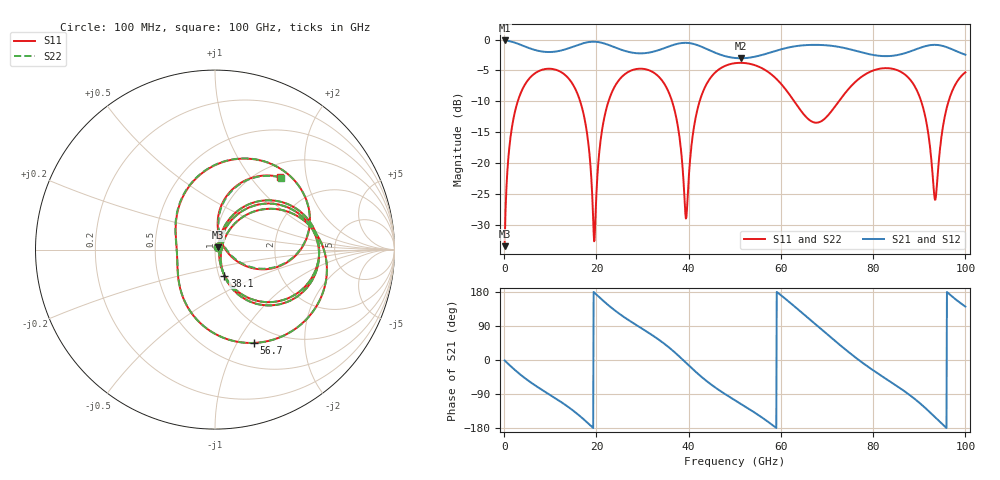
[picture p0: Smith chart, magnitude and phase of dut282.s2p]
! Touchstone file exported from HFSS 2026.1.0
!  File:  C:/ffzhzh/LocalFiles/Ansys_Project_Files/temp_train_TSV_RDL_282_1783678881_29156.aedt
!  Generated:  06:31:28 PM Jul 10, 2026
!  Design:  TSV_RDL
!  Project:  temp_train_TSV_RDL_282_1783678881_29156
! Variables:
!  h_bsmrdl = 2.33um
!  h_ox = 20um
!  h_rdl = 5um
!  h_sub = 70.32um
!  h_tmrdl = 4.81um
!  h_tsv = 70.32um
!  h_via = 3um
!  l_bsmrdl = 445.95um
!  l_sub = 3195.65um
!  l_tmrdl = 330.67um
!  m_sub = 200um
!  pitch = 54.42um
!  r_tsv = 5.91um
!  s_tmrdl = 10um
!  w_bsmrdl = 18.12um
!  w_sub = 500um
!  w_tmrdl = 26.92um
!  x_tsv_center1 = 344.13um
!  x_tsv_center2 = 808.2um
!  x_tsv_center3 = 1165.79um
!  x_tsv_center4 = 1629.86um
!  x_tsv_center5 = 1987.45um
!  x_tsv_center6 = 2451.52um
# GHz S MA R 50.000000
! Terminal data exported
! Port[1] = TM_RDL1_1_T1
! Port[2] = TM_RDL5_1_T1
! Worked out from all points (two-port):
!   1000 points, 100 MHz to 100 GHz, reference 50 ohm
!   highest |S21| = -0.15 dB at 100 MHz (marker M1); lowest = -3.0 dB at 51.3 GHz (marker M2)
!   |S21| within 3 dB of the highest: start of sweep to end of sweep
!   lowest |S11| = -33.4 dB at 100 MHz (marker M3), VSWR 1.04, Z = 51.8 + j1.28 ohm
!   |S11| at or under -10 dB: 16.49 GHz to 22.62 GHz (6.134 GHz wide, 31.4 % of centre); 36.41 GHz to 42.38 GHz (5.965 GHz wide, 15.1 % of centre); 62.9 GHz to 72.55 GHz (9.649 GHz wide, 14.2 % of centre) (the widest 3 of 5)
!   |S22| runs from -33.4 to -3.8 dB; largest |S21 - S12| = 3.9e-13
!   S11 on the Smith chart (normalised r, x): 100 MHz: 1.04, +0.03; 38.1 GHz: 1.06, -0.31; 56.7 GHz: 0.77, -1.18; 100 GHz: 1.24, +1.42
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0.1  0.02135 35.4  0.9828 -1.2  0.9828 -1.2  0.02135 35.4
! Gamma 0 0 0 0
! Port Impedance 50 0 50 0
1.6  0.1858 65.0  0.9613 -18.3  0.9613 -18.3  0.1858 65.0
4.7  0.4439 37.3  0.8725 -49.7  0.8725 -49.7  0.4439 37.3
10.5  0.5776 -7.5  0.7944 -96.4  0.7944 -96.4  0.5776 -7.5
16.8  0.2888 -59.3  0.9252 -151.8  0.9252 -151.8  0.2887 -59.2
19.6  0.02384 12.0  0.9598 177.2  0.9598 177.2  0.02452 11.7
23.5  0.3847 41.9  0.8794 135.6  0.8794 135.6  0.3848 41.7
33.4  0.5057 -34.2  0.8186 54.7  0.8186 54.7  0.5057 -34.4
38.1  0.1536 -70.2  0.9321 8.0  0.9321 8.0  0.1534 -70.5
39.5  0.0364 3.4  0.9402 -8.1  0.9402 -8.1  0.03572 3.5
42.8  0.3533 39.6  0.8745 -44.7  0.8745 -44.7  0.3533 39.6
50.1  0.6442 -17.6  0.7089 -106.7  0.7089 -106.7  0.6443 -17.7
51.3  0.648 -26.2  0.7055 -115.6  0.7055 -115.6  0.6481 -26.2
56.7  0.5637 -67.3  0.7648 -158.5  0.7648 -158.5  0.5637 -67.3
61.7  0.3659 -112.9  0.8629 154.2  0.8629 154.2  0.3661 -112.7
66.7  0.2173 -165.7  0.9051 102.6  0.9051 102.6  0.2175 -165.0
74.6  0.3955 108.6  0.8404 21.7  0.8404 21.7  0.3954 109.2
83.4  0.5858 35.1  0.7347 -54.6  0.7347 -54.6  0.5858 35.5
90  0.3501 -16.7  0.8522 -112.6  0.8522 -112.6  0.3504 -16.0
93.4  0.05065 22.6  0.9059 -150.7  0.9059 -150.7  0.05504 23.3
96.1  0.2939 78.7  0.8636 178.4  0.8636 178.4  0.2948 77.8
100  0.5432 48.0  0.754 140.9  0.754 140.9  0.5435 47.6
